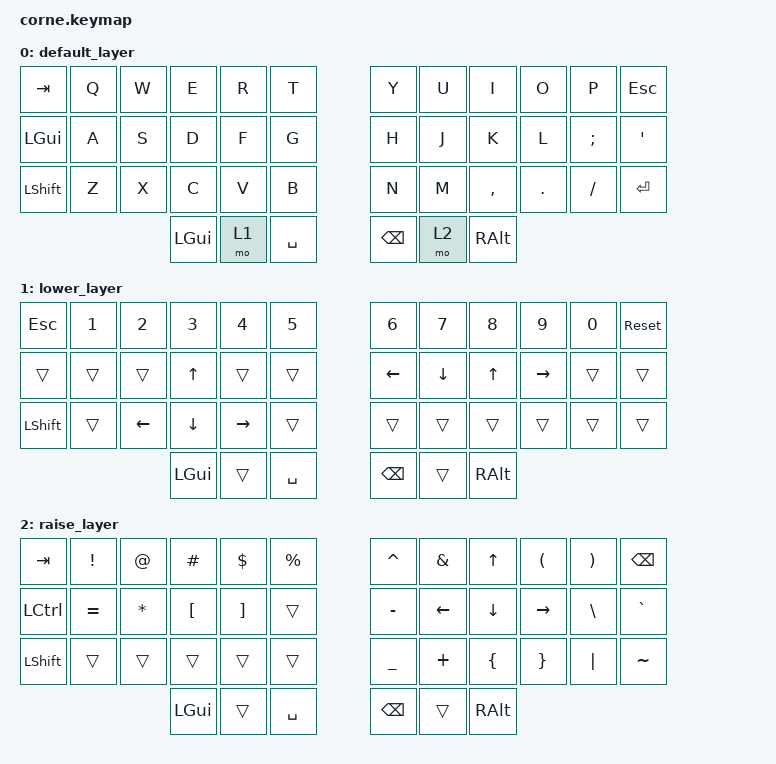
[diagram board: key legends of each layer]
/*
 * Copyright (c) 2020 The ZMK Contributors
 *
 * SPDX-License-Identifier: MIT
 */

#include <behaviors.dtsi>
#include <dt-bindings/zmk/keys.h>

/ {
    keymap {
        compatible = "zmk,keymap";

        default_layer {
            // -----------------------------------------------------------------------------------------
            // |  TAB |  Q  |  W  |  E  |  R  |  T  |   |  Y  |  U   |  I  |  O  |  P  | BSPC |
            // | CTRL |  A  |  S  |  D  |  F  |  G  |   |  H  |  J   |  K  |  L  |  ;  |  '   |
            // | SHFT |  Z  |  X  |  C  |  V  |  B  |   |  N  |  M   |  ,  |  .  |  /  | ESC  |
            //                    | GUI | LWR | SPC |   | ENT | RSE  | ALT |

            bindings = <
&kp TAB    &kp Q  &kp W  &kp E     &kp R  &kp T        &kp Y          &kp U  &kp I      &kp O    &kp P     &kp ESCAPE
&kp LGUI   &kp A  &kp S  &kp D     &kp F  &kp G        &kp H          &kp J  &kp K      &kp L    &kp SEMI  &kp SQT
&kp LSHFT  &kp Z  &kp X  &kp C     &kp V  &kp B        &kp N          &kp M  &kp COMMA  &kp DOT  &kp FSLH  &kp RETURN
                         &kp LGUI  &mo 1  &kp SPACE    &kp BACKSPACE  &mo 2  &kp RALT
            >;
        };

        lower_layer {
            // -----------------------------------------------------------------------------------------
            // |  TAB |  1  |  2  |  3  |  4  |  5  |   |  6  |  7  |  8  |  9  |  0  | BSPC |
            // | BTCLR| BT1 | BT2 | BT3 | BT4 | BT5 |   | LFT | DWN |  UP | RGT |     |      |
            // | SHFT |     |     |     |     |     |   |     |     |     |     |     |      |
            //                    | GUI |     | SPC |   | ENT |     | ALT |

            bindings = <
&kp ESCAPE  &kp N1  &kp N2    &kp N3        &kp N4     &kp N5       &kp N6         &kp N7    &kp N8    &kp N9     &kp N0  &sys_reset
&trans      &trans  &trans    &kp UP_ARROW  &trans     &trans       &kp LEFT       &kp DOWN  &kp UP    &kp RIGHT  &trans  &trans
&kp LSHFT   &trans  &kp LEFT  &kp DOWN      &kp RIGHT  &trans       &trans         &trans    &trans    &trans     &trans  &trans
                              &kp LGUI      &trans     &kp SPACE    &kp BACKSPACE  &trans    &kp RALT
            >;
        };

        raise_layer {
            // -----------------------------------------------------------------------------------------
            // |  TAB |  !  |  @  |  #  |  $  |  %  |   |  ^  |  &  |  *  |  (  |  )  | BSPC |
            // | CTRL |     |     |     |     |     |   |  -  |  =  |  [  |  ]  |  \  |  `   |
            // | SHFT |     |     |     |     |     |   |  _  |  +  |  {  |  }  | "|" |  ~   |
            //                    | GUI |     | SPC |   | ENT |     | ALT |

            bindings = <
&kp TAB    &kp EXCL   &kp AT        &kp HASH          &kp DLLR           &kp PRCNT    &kp CARET      &kp AMPS  &kp UP_ARROW  &kp LPAR   &kp RPAR  &kp BSPC
&kp LCTRL  &kp EQUAL  &kp ASTERISK  &kp LEFT_BRACKET  &kp RIGHT_BRACKET  &trans       &kp MINUS      &kp LEFT  &kp DOWN      &kp RIGHT  &kp BSLH  &kp GRAVE
&kp LSHFT  &trans     &trans        &trans            &trans             &trans       &kp UNDER      &kp PLUS  &kp LBRC      &kp RBRC   &kp PIPE  &kp TILDE
                                    &kp LGUI          &trans             &kp SPACE    &kp BACKSPACE  &trans    &kp RALT
            >;
        };
    };
};
